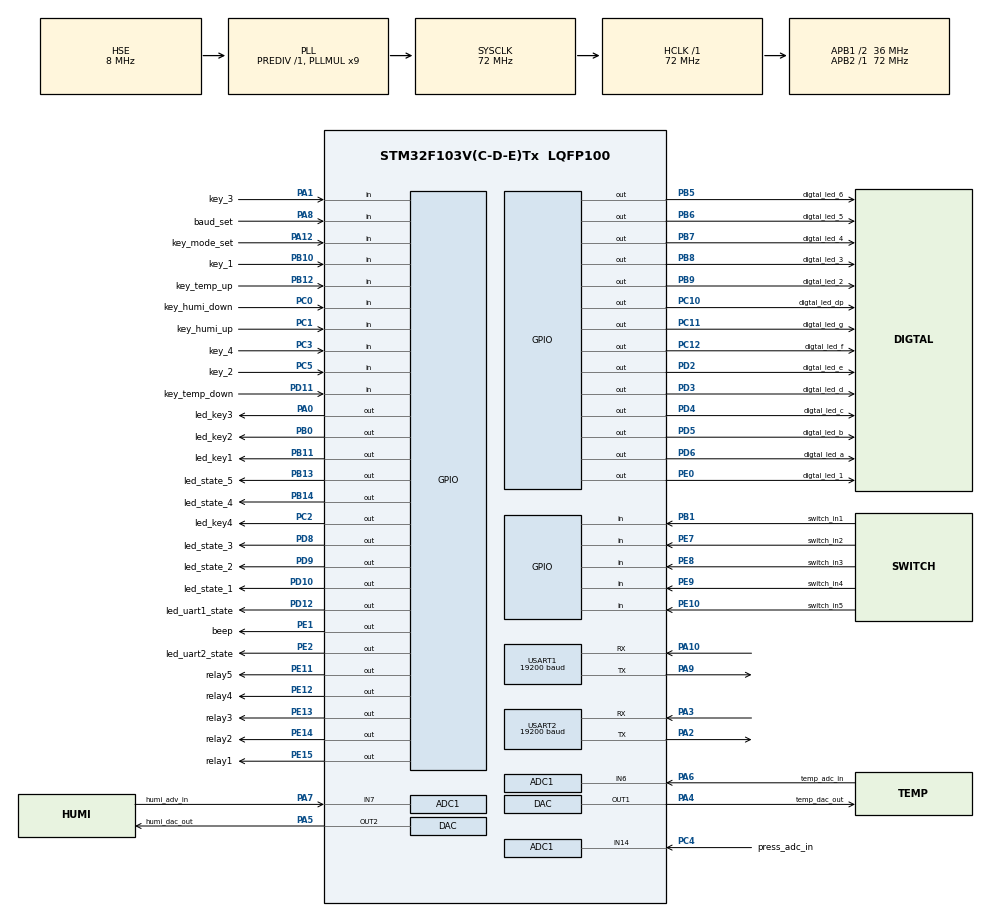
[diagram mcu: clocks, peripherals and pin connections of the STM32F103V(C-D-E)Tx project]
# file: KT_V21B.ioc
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ADC1.Channel-0\#ChannelRegularConversion=ADC_CHANNEL_6
ADC1.Channel-1\#ChannelRegularConversion=ADC_CHANNEL_7
ADC1.Channel-2\#ChannelRegularConversion=ADC_CHANNEL_14
ADC1.ContinuousConvMode=ENABLE
ADC1.NbrOfConversion=3
ADC1.NbrOfConversionFlag=1
ADC1.Rank-0\#ChannelRegularConversion=1
ADC1.Rank-1\#ChannelRegularConversion=2
ADC1.Rank-2\#ChannelRegularConversion=3
ADC1.SamplingTime-0\#ChannelRegularConversion=ADC_SAMPLETIME_55CYCLES_5
ADC1.SamplingTime-1\#ChannelRegularConversion=ADC_SAMPLETIME_55CYCLES_5
ADC1.SamplingTime-2\#ChannelRegularConversion=ADC_SAMPLETIME_55CYCLES_5
ADC1.master=1
Dma.ADC1.4.Direction=DMA_PERIPH_TO_MEMORY
Dma.ADC1.4.Instance=DMA1_Channel1
Dma.ADC1.4.MemDataAlignment=DMA_MDATAALIGN_HALFWORD
Dma.ADC1.4.MemInc=DMA_MINC_ENABLE
Dma.ADC1.4.Mode=DMA_CIRCULAR
Dma.ADC1.4.PeriphDataAlignment=DMA_PDATAALIGN_HALFWORD
Dma.ADC1.4.PeriphInc=DMA_PINC_DISABLE
Dma.ADC1.4.Priority=DMA_PRIORITY_LOW
Dma.Request0=USART1_RX
Dma.Request1=USART1_TX
Dma.Request2=USART2_RX
Dma.Request3=USART2_TX
Dma.Request4=ADC1
Dma.USART1_RX.0.Direction=DMA_PERIPH_TO_MEMORY
Dma.USART1_RX.0.Instance=DMA1_Channel5
Dma.USART1_RX.0.MemDataAlignment=DMA_MDATAALIGN_BYTE
Dma.USART1_RX.0.MemInc=DMA_MINC_ENABLE
Dma.USART1_RX.0.Mode=DMA_NORMAL
Dma.USART1_RX.0.PeriphDataAlignment=DMA_PDATAALIGN_BYTE
Dma.USART1_RX.0.PeriphInc=DMA_PINC_DISABLE
Dma.USART1_RX.0.Priority=DMA_PRIORITY_HIGH
Dma.USART1_TX.1.Direction=DMA_MEMORY_TO_PERIPH
Dma.USART1_TX.1.Instance=DMA1_Channel4
Dma.USART1_TX.1.MemDataAlignment=DMA_MDATAALIGN_BYTE
Dma.USART1_TX.1.MemInc=DMA_MINC_ENABLE
Dma.USART1_TX.1.Mode=DMA_NORMAL
Dma.USART1_TX.1.PeriphDataAlignment=DMA_PDATAALIGN_BYTE
Dma.USART1_TX.1.PeriphInc=DMA_PINC_DISABLE
Dma.USART1_TX.1.Priority=DMA_PRIORITY_HIGH
Dma.USART2_RX.2.Direction=DMA_PERIPH_TO_MEMORY
Dma.USART2_RX.2.Instance=DMA1_Channel6
Dma.USART2_RX.2.MemDataAlignment=DMA_MDATAALIGN_BYTE
Dma.USART2_RX.2.MemInc=DMA_MINC_ENABLE
Dma.USART2_RX.2.Mode=DMA_NORMAL
Dma.USART2_RX.2.PeriphDataAlignment=DMA_PDATAALIGN_BYTE
Dma.USART2_RX.2.PeriphInc=DMA_PINC_DISABLE
Dma.USART2_RX.2.Priority=DMA_PRIORITY_HIGH
Dma.USART2_TX.3.Direction=DMA_MEMORY_TO_PERIPH
Dma.USART2_TX.3.Instance=DMA1_Channel7
Dma.USART2_TX.3.MemDataAlignment=DMA_MDATAALIGN_BYTE
Dma.USART2_TX.3.MemInc=DMA_MINC_ENABLE
Dma.USART2_TX.3.Mode=DMA_NORMAL
Dma.USART2_TX.3.PeriphDataAlignment=DMA_PDATAALIGN_BYTE
Dma.USART2_TX.3.PeriphInc=DMA_PINC_DISABLE
Dma.USART2_TX.3.Priority=DMA_PRIORITY_HIGH
FREERTOS.HEAP_NUMBER=4
FREERTOS.Tasks01=modbusSlaveTask,0,128,StartTaskModbusSlave,Default,NULL,Dynamic,NULL,NULL;dispalyTask,1,128,StartTaskDisplay,Default,NULL,Dynamic,NULL,NULL;modbusMasterTas,0,128,StartTaskModbusMaster,Default,NULL,Dynamic,NULL,NULL;dataProcessTask,-2,128,StartTaskDataPrecess,Default,NULL,Dynamic,NULL,NULL
FREERTOS.configTOTAL_HEAP_SIZE=4096
Mcu.Family=STM32F1
Mcu.Name=STM32F103V(C-D-E)Tx
Mcu.Package=LQFP100
NVIC.DMA1_Channel1_IRQn=true\:5\:0\:false\:false\:true\:true\:false
NVIC.DMA1_Channel4_IRQn=true\:5\:0\:false\:false\:true\:true\:false
NVIC.DMA1_Channel5_IRQn=true\:5\:0\:false\:false\:true\:true\:false
NVIC.DMA1_Channel6_IRQn=true\:5\:0\:false\:false\:true\:true\:false
NVIC.DMA1_Channel7_IRQn=true\:5\:0\:false\:false\:true\:true\:false
NVIC.PriorityGroup=NVIC_PRIORITYGROUP_4
NVIC.TIM4_IRQn=true\:0\:0\:false\:false\:true\:false\:false
NVIC.TIM6_IRQn=true\:5\:0\:false\:false\:true\:true\:true
NVIC.TimeBase=TIM4_IRQn
NVIC.TimeBaseIP=TIM4
NVIC.USART1_IRQn=true\:5\:0\:false\:false\:true\:true\:true
NVIC.USART2_IRQn=true\:5\:0\:false\:false\:true\:true\:true
OSC_IN.Mode=HSE-External-Oscillator
OSC_IN.Signal=RCC_OSC_IN
OSC_OUT.Mode=HSE-External-Oscillator
OSC_OUT.Signal=RCC_OSC_OUT
PA0-WKUP.GPIO_Label=led_key3
PA0-WKUP.GPIO_PuPd=GPIO_NOPULL
PA0-WKUP.PinState=GPIO_PIN_SET
PA0-WKUP.Signal=GPIO_Output
PA1.GPIO_Label=key_3
PA1.GPIO_PuPd=GPIO_PULLUP
PA1.Signal=GPIO_Input
PA10.Mode=Asynchronous
PA10.Signal=USART1_RX
PA12.GPIO_Label=key_mode_set
PA12.GPIO_PuPd=GPIO_PULLUP
PA12.Signal=GPIO_Input
PA13.Mode=Serial_Wire
PA13.Signal=SYS_JTMS-SWDIO
PA14.Mode=Serial_Wire
PA14.Signal=SYS_JTCK-SWCLK
PA2.Mode=Asynchronous
PA2.Signal=USART2_TX
PA3.Mode=Asynchronous
PA3.Signal=USART2_RX
PA4.GPIO_Label=temp_dac_out
PA4.Signal=COMP_DAC1_group
PA5.GPIO_Label=humi_dac_out
PA5.Signal=COMP_DAC2_group
PA6.GPIO_Label=temp_adc_in
PA6.Signal=ADCx_IN6
PA7.GPIO_Label=humi_adv_in
PA7.Signal=ADCx_IN7
PA8.GPIO_Label=baud_set
PA8.GPIO_PuPd=GPIO_PULLUP
PA8.Signal=GPIO_Input
PA9.Mode=Asynchronous
PA9.Signal=USART1_TX
PB0.GPIO_Label=led_key2
PB0.GPIO_PuPd=GPIO_NOPULL
PB0.PinState=GPIO_PIN_SET
PB0.Signal=GPIO_Output
PB1.GPIO_Label=switch_in1
PB1.GPIO_PuPd=GPIO_PULLUP
PB1.Signal=GPIO_Input
PB10.GPIO_Label=key_1
PB10.GPIO_PuPd=GPIO_PULLUP
PB10.Signal=GPIO_Input
PB11.GPIO_Label=led_key1
PB11.GPIO_PuPd=GPIO_NOPULL
PB11.PinState=GPIO_PIN_SET
PB11.Signal=GPIO_Output
PB12.GPIO_Label=key_temp_up
PB12.GPIO_PuPd=GPIO_PULLUP
PB12.Signal=GPIO_Input
PB13.GPIO_Label=led_state_5
PB13.GPIO_PuPd=GPIO_NOPULL
PB13.PinState=GPIO_PIN_RESET
PB13.Signal=GPIO_Output
PB14.GPIO_Label=led_state_4
PB14.GPIO_PuPd=GPIO_NOPULL
PB14.PinState=GPIO_PIN_RESET
PB14.Signal=GPIO_Output
PB5.GPIO_Label=digtal_led_6
PB5.GPIO_PuPd=GPIO_NOPULL
PB5.PinState=GPIO_PIN_SET
PB5.Signal=GPIO_Output
PB6.GPIO_Label=digtal_led_5
PB6.GPIO_PuPd=GPIO_NOPULL
PB6.PinState=GPIO_PIN_SET
PB6.Signal=GPIO_Output
PB7.GPIO_Label=digtal_led_4
PB7.GPIO_PuPd=GPIO_NOPULL
PB7.PinState=GPIO_PIN_SET
PB7.Signal=GPIO_Output
PB8.GPIO_Label=digtal_led_3
PB8.GPIO_PuPd=GPIO_NOPULL
PB8.PinState=GPIO_PIN_SET
PB8.Signal=GPIO_Output
PB9.GPIO_Label=digtal_led_2
PB9.GPIO_PuPd=GPIO_NOPULL
PB9.PinState=GPIO_PIN_SET
PB9.Signal=GPIO_Output
PC0.GPIO_Label=key_humi_down
PC0.GPIO_PuPd=GPIO_PULLUP
PC0.Signal=GPIO_Input
PC1.GPIO_Label=key_humi_up
PC1.GPIO_PuPd=GPIO_PULLUP
PC1.Signal=GPIO_Input
PC10.GPIO_Label=digtal_led_dp
PC10.GPIO_PuPd=GPIO_NOPULL
PC10.Signal=GPIO_Output
PC11.GPIO_Label=digtal_led_g
PC11.GPIO_PuPd=GPIO_NOPULL
PC11.Signal=GPIO_Output
PC12.GPIO_Label=digtal_led_f
PC12.GPIO_PuPd=GPIO_NOPULL
PC12.Signal=GPIO_Output
PC2.GPIO_Label=led_key4
PC2.GPIO_PuPd=GPIO_NOPULL
PC2.PinState=GPIO_PIN_SET
PC2.Signal=GPIO_Output
PC3.GPIO_Label=key_4
PC3.GPIO_PuPd=GPIO_PULLUP
PC3.Signal=GPIO_Input
PC4.GPIO_Label=press_adc_in
PC4.Signal=ADCx_IN14
PC5.GPIO_Label=key_2
PC5.GPIO_PuPd=GPIO_PULLUP
PC5.Signal=GPIO_Input
PD10.GPIO_Label=led_state_1
PD10.GPIO_PuPd=GPIO_NOPULL
PD10.PinState=GPIO_PIN_RESET
PD10.Signal=GPIO_Output
PD11.GPIO_Label=key_temp_down
PD11.GPIO_PuPd=GPIO_PULLUP
PD11.Signal=GPIO_Input
PD12.GPIO_Label=led_uart1_state
PD12.GPIO_PuPd=GPIO_NOPULL
PD12.PinState=GPIO_PIN_SET
PD12.Signal=GPIO_Output
PD2.GPIO_Label=digtal_led_e
PD2.GPIO_PuPd=GPIO_NOPULL
PD2.Signal=GPIO_Output
PD3.GPIO_Label=digtal_led_d
PD3.GPIO_PuPd=GPIO_NOPULL
PD3.Signal=GPIO_Output
PD4.GPIO_Label=digtal_led_c
PD4.GPIO_PuPd=GPIO_NOPULL
PD4.Signal=GPIO_Output
PD5.GPIO_Label=digtal_led_b
PD5.GPIO_PuPd=GPIO_NOPULL
PD5.Signal=GPIO_Output
PD6.GPIO_Label=digtal_led_a
PD6.GPIO_PuPd=GPIO_NOPULL
PD6.Signal=GPIO_Output
PD8.GPIO_Label=led_state_3
PD8.GPIO_PuPd=GPIO_NOPULL
PD8.PinState=GPIO_PIN_RESET
PD8.Signal=GPIO_Output
PD9.GPIO_Label=led_state_2
PD9.GPIO_PuPd=GPIO_NOPULL
PD9.PinState=GPIO_PIN_RESET
PD9.Signal=GPIO_Output
PE0.GPIO_Label=digtal_led_1
PE0.GPIO_PuPd=GPIO_NOPULL
PE0.PinState=GPIO_PIN_SET
PE0.Signal=GPIO_Output
PE1.GPIO_Label=beep
PE1.GPIO_PuPd=GPIO_NOPULL
PE1.PinState=GPIO_PIN_SET
PE1.Signal=GPIO_Output
PE10.GPIO_Label=switch_in5
PE10.GPIO_PuPd=GPIO_PULLUP
PE10.Signal=GPIO_Input
PE11.GPIO_Label=relay5
PE11.GPIO_PuPd=GPIO_NOPULL
PE11.Signal=GPIO_Output
PE12.GPIO_Label=relay4
PE12.GPIO_PuPd=GPIO_NOPULL
PE12.Signal=GPIO_Output
PE13.GPIO_Label=relay3
PE13.GPIO_PuPd=GPIO_NOPULL
PE13.Signal=GPIO_Output
PE14.GPIO_Label=relay2
PE14.GPIO_PuPd=GPIO_NOPULL
PE14.Signal=GPIO_Output
PE15.GPIO_Label=relay1
PE15.GPIO_PuPd=GPIO_NOPULL
PE15.Signal=GPIO_Output
PE2.GPIO_Label=led_uart2_state
PE2.GPIO_PuPd=GPIO_NOPULL
PE2.PinState=GPIO_PIN_SET
PE2.Signal=GPIO_Output
PE7.GPIO_Label=switch_in2
PE7.GPIO_PuPd=GPIO_PULLUP
PE7.Signal=GPIO_Input
PE8.GPIO_Label=switch_in3
PE8.GPIO_PuPd=GPIO_PULLUP
PE8.Signal=GPIO_Input
PE9.GPIO_Label=switch_in4
PE9.GPIO_PuPd=GPIO_PULLUP
PE9.Signal=GPIO_Input
ProjectManager.HeapSize=0x400
ProjectManager.StackSize=0x1000
ProjectManager.TargetToolchain=Other Toolchains (GPDSC)
RCC.ADCPresc=RCC_ADCPCLK2_DIV6
RCC.AHBFreq_Value=72000000
RCC.APB1CLKDivider=RCC_HCLK_DIV2
RCC.APB1Freq_Value=36000000
RCC.APB1TimFreq_Value=72000000
RCC.APB2Freq_Value=72000000
RCC.APB2TimFreq_Value=72000000
RCC.HCLKFreq_Value=72000000
RCC.PLLMUL=RCC_PLL_MUL9
RCC.PLLSourceVirtual=RCC_PLLSOURCE_HSE
RCC.SYSCLKFreq_VALUE=72000000
RCC.SYSCLKSource=RCC_SYSCLKSOURCE_PLLCLK
RCC.USBFreq_Value=72000000
SH.ADCx_IN14.0=ADC1_IN14,IN14
SH.ADCx_IN6.0=ADC1_IN6,IN6
SH.ADCx_IN7.0=ADC1_IN7,IN7
SH.COMP_DAC1_group.0=DAC_OUT1,DAC_OUT1
SH.COMP_DAC2_group.0=DAC_OUT2,DAC_OUT2
TIM6.Period=10000
TIM6.Prescaler=71
USART1.BaudRate=19200
USART1.VirtualMode=VM_ASYNC
USART2.BaudRate=19200
USART2.VirtualMode=VM_ASYNC
VP_FREERTOS_VS_ENABLE.Mode=Enabled
VP_SYS_VS_tim4.Mode=TIM4
VP_TIM6_VS_ClockSourceINT.Mode=Enable_Timer
board=custom

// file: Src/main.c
/* USER CODE BEGIN Header */
/**
  ******************************************************************************
  * @file           : main.c
  * @brief          : Main program body
  ******************************************************************************
  ** This notice applies to any and all portions of this file
  * that are not between comment pairs USER CODE BEGIN and
  * USER CODE END. Other portions of this file, whether
  * inserted by the user or by software development tools
  * are owned by their respective copyright owners.
  *
  * COPYRIGHT(c) 2018 STMicroelectronics
  *
  * Redistribution and use in source and binary forms, with or without modification,
  * are permitted provided that the following conditions are met:
  *   1. Redistributions of source code must retain the above copyright notice,
  *      this list of conditions and the following disclaimer.
  *   2. Redistributions in binary form must reproduce the above copyright notice,
  *      this list of conditions and the following disclaimer in the documentation
  *      and/or other materials provided with the distribution.
  *   3. Neither the name of STMicroelectronics nor the names of its contributors
  *      may be used to endorse or promote products derived from this software
  *      without specific prior written permission.
  *
  * THIS SOFTWARE IS PROVIDED BY THE COPYRIGHT HOLDERS AND CONTRIBUTORS "AS IS"
  * AND ANY EXPRESS OR IMPLIED WARRANTIES, INCLUDING, BUT NOT LIMITED TO, THE
  * IMPLIED WARRANTIES OF MERCHANTABILITY AND FITNESS FOR A PARTICULAR PURPOSE ARE
  * DISCLAIMED. IN NO EVENT SHALL THE COPYRIGHT HOLDER OR CONTRIBUTORS BE LIABLE
  * FOR ANY DIRECT, INDIRECT, INCIDENTAL, SPECIAL, EXEMPLARY, OR CONSEQUENTIAL
  * DAMAGES (INCLUDING, BUT NOT LIMITED TO, PROCUREMENT OF SUBSTITUTE GOODS OR
  * SERVICES; LOSS OF USE, DATA, OR PROFITS; OR BUSINESS INTERRUPTION) HOWEVER
  * CAUSED AND ON ANY THEORY OF LIABILITY, WHETHER IN CONTRACT, STRICT LIABILITY,
  * OR TORT (INCLUDING NEGLIGENCE OR OTHERWISE) ARISING IN ANY WAY OUT OF THE USE
  * OF THIS SOFTWARE, EVEN IF ADVISED OF THE POSSIBILITY OF SUCH DAMAGE.
  *
  ******************************************************************************
  */
/* USER CODE END Header */

#include "main.h"
#include "cmsis_os.h"
#include "adc.h"
#include "dac.h"
#include "dma.h"
#include "tim.h"
#include "usart.h"
#include "gpio.h"

/* USER CODE BEGIN Includes */

#include "bsp.h"
#include "modbus_slave.h"
#include "controlCenter.h"

/* USER CODE END Includes */

void SystemClock_Config(void);
void MX_FREERTOS_Init(void);

int main(void)
{

  /* MCU Configuration--------------------------------------------------------*/

  /* Reset of all peripherals, Initializes the Flash interface and the Systick. */
  HAL_Init();

  /* Configure the system clock */
  SystemClock_Config();

  /* Initialize all configured peripherals */
  MX_GPIO_Init();
  MX_DMA_Init();
  MX_USART1_UART_Init();
  MX_USART2_UART_Init();
  MX_ADC1_Init();
  MX_DAC_Init();
  MX_TIM6_Init();
  /* USER CODE BEGIN 2 */
  bsp_Init();
  paramInFlashInit();
  /* USER CODE END 2 */

  /* Call init function for freertos objects (in freertos.c) */
  MX_FREERTOS_Init();

  /* Start scheduler */
  osKernelStart();

  /* We should never get here as control is now taken by the scheduler */

  /* Infinite loop */
  while (1)
  {

  }
}

void SystemClock_Config(void)
{
  RCC_OscInitTypeDef RCC_OscInitStruct = {0};
  RCC_ClkInitTypeDef RCC_ClkInitStruct = {0};
  RCC_PeriphCLKInitTypeDef PeriphClkInit = {0};

  /**Initializes the CPU, AHB and APB busses clocks
  */
  RCC_OscInitStruct.OscillatorType = RCC_OSCILLATORTYPE_HSE;
  RCC_OscInitStruct.HSEState = RCC_HSE_ON;
  RCC_OscInitStruct.HSEPredivValue = RCC_HSE_PREDIV_DIV1;
  RCC_OscInitStruct.HSIState = RCC_HSI_ON;
  RCC_OscInitStruct.PLL.PLLState = RCC_PLL_ON;
  RCC_OscInitStruct.PLL.PLLSource = RCC_PLLSOURCE_HSE;
  RCC_OscInitStruct.PLL.PLLMUL = RCC_PLL_MUL9;
  if (HAL_RCC_OscConfig(&RCC_OscInitStruct) != HAL_OK)
  {
    Error_Handler();
  }
  /**Initializes the CPU, AHB and APB busses clocks
  */
  RCC_ClkInitStruct.ClockType = RCC_CLOCKTYPE_HCLK|RCC_CLOCKTYPE_SYSCLK
                              |RCC_CLOCKTYPE_PCLK1|RCC_CLOCKTYPE_PCLK2;
  RCC_ClkInitStruct.SYSCLKSource = RCC_SYSCLKSOURCE_PLLCLK;
  RCC_ClkInitStruct.AHBCLKDivider = RCC_SYSCLK_DIV1;
  RCC_ClkInitStruct.APB1CLKDivider = RCC_HCLK_DIV2;
  RCC_ClkInitStruct.APB2CLKDivider = RCC_HCLK_DIV1;

  if (HAL_RCC_ClockConfig(&RCC_ClkInitStruct, FLASH_LATENCY_2) != HAL_OK)
  {
    Error_Handler();
  }
  PeriphClkInit.PeriphClockSelection = RCC_PERIPHCLK_ADC;
  PeriphClkInit.AdcClockSelection = RCC_ADCPCLK2_DIV6;
  if (HAL_RCCEx_PeriphCLKConfig(&PeriphClkInit) != HAL_OK)
  {
    Error_Handler();
  }
}

void HAL_TIM_PeriodElapsedCallback(TIM_HandleTypeDef *htim)
{
  if (htim->Instance == TIM4) {
    HAL_IncTick();
  }
  /* USER CODE BEGIN Callback 1 */

  if (htim == &htim6)
  {

  }
  /* USER CODE END Callback 1 */
}

void Error_Handler(void)
{
}

/************************ (C) COPYRIGHT STMicroelectronics *****END OF FILE****/

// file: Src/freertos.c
/* USER CODE BEGIN Header */
/**
******************************************************************************
* File Name          : freertos.c
* Description        : Code for freertos applications
******************************************************************************
* This notice applies to any and all portions of this file
* that are not between comment pairs USER CODE BEGIN and
* USER CODE END. Other portions of this file, whether
* inserted by the user or by software development tools
* are owned by their respective copyright owners.
*
* Copyright (c) 2019 STMicroelectronics International N.V.
* All rights reserved.
*
* Redistribution and use in source and binary forms, with or without
* modification, are permitted, provided that the following conditions are met:
*
* 1. Redistribution of source code must retain the above copyright notice,
*    this list of conditions and the following disclaimer.
* 2. Redistributions in binary form must reproduce the above copyright notice,
*    this list of conditions and the following disclaimer in the documentation
*    and/or other materials provided with the distribution.
* 3. Neither the name of STMicroelectronics nor the names of other
*    contributors to this software may be used to endorse or promote products
*    derived from this software without specific written permission.
* 4. This software, including modifications and/or derivative works of this
*    software, must execute solely and exclusively on microcontroller or
*    microprocessor devices manufactured by or for STMicroelectronics.
* 5. Redistribution and use of this software other than as permitted under
*    this license is void and will automatically terminate your rights under
*    this license.
*
* THIS SOFTWARE IS PROVIDED BY STMICROELECTRONICS AND CONTRIBUTORS "AS IS"
* AND ANY EXPRESS, IMPLIED OR STATUTORY WARRANTIES, INCLUDING, BUT NOT
* LIMITED TO, THE IMPLIED WARRANTIES OF MERCHANTABILITY, FITNESS FOR A
* PARTICULAR PURPOSE AND NON-INFRINGEMENT OF THIRD PARTY INTELLECTUAL PROPERTY
* RIGHTS ARE DISCLAIMED TO THE FULLEST EXTENT PERMITTED BY LAW. IN NO EVENT
* SHALL STMICROELECTRONICS OR CONTRIBUTORS BE LIABLE FOR ANY DIRECT, INDIRECT,
* INCIDENTAL, SPECIAL, EXEMPLARY, OR CONSEQUENTIAL DAMAGES (INCLUDING, BUT NOT
* LIMITED TO, PROCUREMENT OF SUBSTITUTE GOODS OR SERVICES; LOSS OF USE, DATA,
* OR PROFITS; OR BUSINESS INTERRUPTION) HOWEVER CAUSED AND ON ANY THEORY OF
* LIABILITY, WHETHER IN CONTRACT, STRICT LIABILITY, OR TORT (INCLUDING
* NEGLIGENCE OR OTHERWISE) ARISING IN ANY WAY OUT OF THE USE OF THIS SOFTWARE,
* EVEN IF ADVISED OF THE POSSIBILITY OF SUCH DAMAGE.
*
******************************************************************************
*/
/* USER CODE END Header */

#include "FreeRTOS.h"
#include "task.h"
#include "main.h"
#include "cmsis_os.h"

/* USER CODE BEGIN Includes */

#include "bsp.h"
#include "modbus_slave.h"
#include "controlCenter.h"
#include "dataProcessing.h"

/* USER CODE END Includes */

osThreadId modbusSlaveTaskHandle;
osThreadId dispalyTaskHandle;
osThreadId modbusMasterTasHandle;
osThreadId dataProcessTaskHandle;

void StartTaskModbusSlave(void const * argument);
void StartTaskDisplay(void const * argument);
void StartTaskModbusMaster(void const * argument);
void StartTaskDataPrecess(void const * argument);

void MX_FREERTOS_Init(void); /* (MISRA C 2004 rule 8.1) */

							 /**
							 * @brief  FreeRTOS initialization
							 * @param  None
							 * @retval None
							 */
void MX_FREERTOS_Init(void) {

	/* Create the thread(s) */
	/* definition and creation of modbusSlaveTask */
	osThreadDef(modbusSlaveTask, StartTaskModbusSlave, osPriorityNormal, 0, 128);
	modbusSlaveTaskHandle = osThreadCreate(osThread(modbusSlaveTask), NULL);

	/* definition and creation of dispalyTask */
	osThreadDef(dispalyTask, StartTaskDisplay, osPriorityAboveNormal, 0, 128);
	dispalyTaskHandle = osThreadCreate(osThread(dispalyTask), NULL);

	/* definition and creation of modbusMasterTas */
	osThreadDef(modbusMasterTas, StartTaskModbusMaster, osPriorityNormal, 0, 128);
	modbusMasterTasHandle = osThreadCreate(osThread(modbusMasterTas), NULL);

	/* definition and creation of dataProcessTask */
	osThreadDef(dataProcessTask, StartTaskDataPrecess, osPriorityLow, 0, 128);
	dataProcessTaskHandle = osThreadCreate(osThread(dataProcessTask), NULL);

}

void StartTaskModbusSlave(void const * argument)
{

	/* USER CODE BEGIN StartTaskModbusSlave */
	/* Infinite loop */
	for (;;)
	{
		osDelay(10);
		MODS_Poll();	/* 从站 MODBUS函数 */
	}
	/* USER CODE END StartTaskModbusSlave */
}

void StartTaskDisplay(void const * argument)
{
	/* USER CODE BEGIN StartTaskDisplay */
	/* Infinite loop */
	for (;;)
	{
		modeSelect();
	}
	/* USER CODE END StartTaskDisplay */
}

void StartTaskModbusMaster(void const * argument)
{
	/* USER CODE BEGIN StartTaskModbusMaster */
	/* Infinite loop */
	for (;;)
	{
		osDelay(100);
	}
	/* USER CODE END StartTaskModbusMaster */
}

void StartTaskDataPrecess(void const * argument)
{
	/* USER CODE BEGIN StartTaskDataPrecess */
	static uint8_t count = 0;
	static uint8_t count1 = 0;

	/* Infinite loop */
	for (;;)
	{
		bsp_RunPer10ms();

		count++;

		if (count > 50)
		{
			count = 0;
			bsp_RunPer500ms();

			count1++;
			if (count1 > 1)
			{
				count1 = 0;
				bsp_GetAdcValue();
			}
		}
		osDelay(10);
		nonCommunicationMode();
	}
	/* USER CODE END StartTaskDataPrecess */
}

/************************ (C) COPYRIGHT STMicroelectronics *****END OF FILE****/
